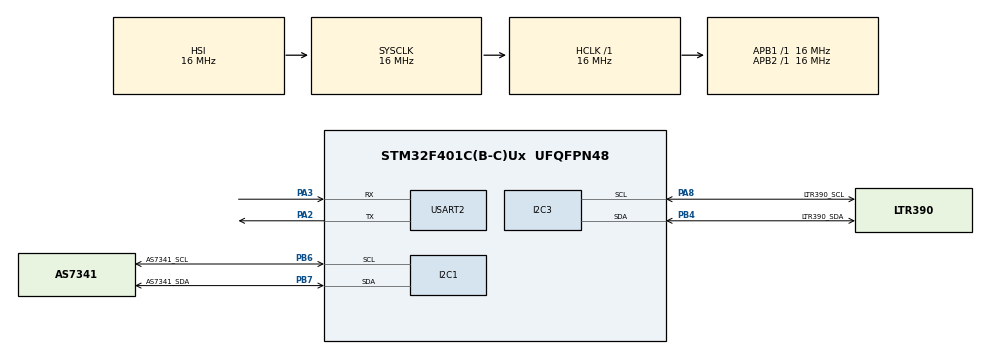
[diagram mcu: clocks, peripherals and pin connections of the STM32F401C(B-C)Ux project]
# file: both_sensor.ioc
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FREERTOS.BinarySemaphores01=messageI2C1_Lock,Dynamic,NULL,Available
FREERTOS.Tasks01=AS7341_Send,24,128,StartAS7341Task,Default,NULL,Dynamic,NULL,NULL;Send_LTR390,8,128,StartLTR390,Default,NULL,Dynamic,NULL,NULL;UartSend,8,128,SendUART,Default,NULL,Dynamic,NULL,NULL
FREERTOS.configUSE_NEWLIB_REENTRANT=1
Mcu.Family=STM32F4
Mcu.Name=STM32F401C(B-C)Ux
Mcu.Package=UFQFPN48
NVIC.I2C1_ER_IRQn=true\:5\:0\:false\:false\:true\:true\:true\:true\:true
NVIC.I2C1_EV_IRQn=true\:5\:0\:false\:false\:true\:true\:true\:true\:true
NVIC.I2C3_ER_IRQn=true\:5\:0\:false\:false\:true\:true\:true\:true\:true
NVIC.I2C3_EV_IRQn=true\:5\:0\:false\:false\:true\:true\:true\:true\:true
NVIC.PriorityGroup=NVIC_PRIORITYGROUP_4
NVIC.TIM4_IRQn=true\:15\:0\:false\:false\:true\:false\:false\:true\:true
NVIC.TimeBase=TIM4_IRQn
NVIC.TimeBaseIP=TIM4
NVIC.USART2_IRQn=true\:5\:0\:false\:false\:true\:true\:true\:true\:true
PA13.Mode=Trace_Asynchronous_SW
PA13.Signal=SYS_JTMS-SWDIO
PA14.Mode=Trace_Asynchronous_SW
PA14.Signal=SYS_JTCK-SWCLK
PA2.Mode=Asynchronous
PA2.Signal=USART2_TX
PA3.Mode=Asynchronous
PA3.Signal=USART2_RX
PA8.GPIO_Label=LTR390_SCL
PA8.Mode=I2C
PA8.Signal=I2C3_SCL
PB3.Mode=Trace_Asynchronous_SW
PB3.Signal=SYS_JTDO-SWO
PB4.GPIO_Label=LTR390_SDA
PB4.Mode=I2C
PB4.Signal=I2C3_SDA
PB6.GPIO_Label=AS7341_SCL
PB6.Mode=I2C
PB6.Signal=I2C1_SCL
PB7.GPIO_Label=AS7341_SDA
PB7.Mode=I2C
PB7.Signal=I2C1_SDA
ProjectManager.HeapSize=0x200
ProjectManager.StackSize=0x400
ProjectManager.TargetToolchain=STM32CubeIDE
RCC.AHBFreq_Value=16000000
RCC.APB1Freq_Value=16000000
RCC.APB2Freq_Value=16000000
RCC.CortexFreq_Value=16000000
RCC.HSE_VALUE=25000000
RCC.HSI_VALUE=16000000
RCC.LSE_VALUE=32768
RCC.SYSCLKFreq_VALUE=16000000
RCC.VCOOutputFreq_Value=192000000
USART2.VirtualMode=VM_ASYNC
VP_FREERTOS_VS_CMSIS_V2.Mode=CMSIS_V2
VP_SYS_VS_tim4.Mode=TIM4
board=custom

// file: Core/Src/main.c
/* USER CODE BEGIN Header */
/**
  ******************************************************************************
  * @file           : main.c
  * @brief          : Main program body
  ******************************************************************************
  * @attention
  *
  * Copyright (c) 2026 STMicroelectronics.
  * All rights reserved.
  *
  * This software is licensed under terms that can be found in the LICENSE file
  * in the root directory of this software component.
  * If no LICENSE file comes with this software, it is provided AS-IS.
  *
  ******************************************************************************
  */
/* USER CODE END Header */
#include "main.h"
#include "cmsis_os.h"

/* USER CODE BEGIN Includes */
#include "Adafruit_AS7341.h"

#include "LTR390.h"
/* USER CODE END Includes */

I2C_HandleTypeDef hi2c1;
I2C_HandleTypeDef hi2c3;

UART_HandleTypeDef huart2;

/* Definitions for AS7341_Send */
osThreadId_t AS7341_SendHandle;
const osThreadAttr_t AS7341_Send_attributes = {
  .name = "AS7341_Send",
  .stack_size = 128 * 4,
  .priority = (osPriority_t) osPriorityNormal,
};
/* Definitions for Send_LTR390 */
osThreadId_t Send_LTR390Handle;
const osThreadAttr_t Send_LTR390_attributes = {
  .name = "Send_LTR390",
  .stack_size = 128 * 4,
  .priority = (osPriority_t) osPriorityLow,
};
/* Definitions for UartSend */
osThreadId_t UartSendHandle;
const osThreadAttr_t UartSend_attributes = {
  .name = "UartSend",
  .stack_size = 128 * 4,
  .priority = (osPriority_t) osPriorityLow,
};
/* Definitions for messageI2C1_Lock */
osSemaphoreId_t messageI2C1_LockHandle;
const osSemaphoreAttr_t messageI2C1_Lock_attributes = {
  .name = "messageI2C1_Lock"
};
/* USER CODE BEGIN PV */
Adafruit_AS7341_t as7341;
uint16_t spectral[12];

volatile uint32_t uv340 = 0;
/* USER CODE END PV */

void SystemClock_Config(void);
static void MX_GPIO_Init(void);
static void MX_I2C1_Init(void);
static void MX_I2C3_Init(void);
static void MX_USART2_UART_Init(void);
void StartAS7341Task(void *argument);
void StartLTR390(void *argument);
void SendUART(void *argument);

int main(void)
{

  /* MCU Configuration--------------------------------------------------------*/

  /* Reset of all peripherals, Initializes the Flash interface and the Systick. */
  HAL_Init();

  /* Configure the system clock */
  SystemClock_Config();

  /* Initialize all configured peripherals */
  MX_GPIO_Init();
  MX_I2C1_Init();
  MX_I2C3_Init();
  MX_USART2_UART_Init();

  /* Init scheduler */
  osKernelInitialize();

  /* Create the semaphores(s) */
  /* creation of messageI2C1_Lock */
  messageI2C1_LockHandle = osSemaphoreNew(1, 1, &messageI2C1_Lock_attributes);

  /* USER CODE BEGIN RTOS_SEMAPHORES */
  Adafruit_AS7341_Init(&as7341);

  if(!Adafruit_AS7341_begin(&as7341,
                            AS7341_I2CADDR_DEFAULT,
                            &hi2c1,
                            0))
  {
      Error_Handler();
  }

  Adafruit_AS7341_setATIME(&as7341, 50);
  Adafruit_AS7341_setASTEP(&as7341, 999);
  Adafruit_AS7341_setGain(&as7341, AS7341_GAIN_16X);
  /* add semaphores, ... */
  /* USER CODE END RTOS_SEMAPHORES */

  /* Create the thread(s) */
  /* creation of AS7341_Send */
  AS7341_SendHandle = osThreadNew(StartAS7341Task, NULL, &AS7341_Send_attributes);

  /* creation of Send_LTR390 */
  Send_LTR390Handle = osThreadNew(StartLTR390, NULL, &Send_LTR390_attributes);

  /* creation of UartSend */
  UartSendHandle = osThreadNew(SendUART, NULL, &UartSend_attributes);

  /* Start scheduler */
  osKernelStart();

  /* We should never get here as control is now taken by the scheduler */

  /* Infinite loop */
  while (1)
  {

  }
}

void SystemClock_Config(void)
{
  RCC_OscInitTypeDef RCC_OscInitStruct = {0};
  RCC_ClkInitTypeDef RCC_ClkInitStruct = {0};

  /** Configure the main internal regulator output voltage
  */
  __HAL_RCC_PWR_CLK_ENABLE();
  __HAL_PWR_VOLTAGESCALING_CONFIG(PWR_REGULATOR_VOLTAGE_SCALE2);

  /** Initializes the RCC Oscillators according to the specified parameters
  * in the RCC_OscInitTypeDef structure.
  */
  RCC_OscInitStruct.OscillatorType = RCC_OSCILLATORTYPE_HSI;
  RCC_OscInitStruct.HSIState = RCC_HSI_ON;
  RCC_OscInitStruct.HSICalibrationValue = RCC_HSICALIBRATION_DEFAULT;
  RCC_OscInitStruct.PLL.PLLState = RCC_PLL_NONE;
  if (HAL_RCC_OscConfig(&RCC_OscInitStruct) != HAL_OK)
  {
    Error_Handler();
  }

  /** Initializes the CPU, AHB and APB buses clocks
  */
  RCC_ClkInitStruct.ClockType = RCC_CLOCKTYPE_HCLK|RCC_CLOCKTYPE_SYSCLK
                              |RCC_CLOCKTYPE_PCLK1|RCC_CLOCKTYPE_PCLK2;
  RCC_ClkInitStruct.SYSCLKSource = RCC_SYSCLKSOURCE_HSI;
  RCC_ClkInitStruct.AHBCLKDivider = RCC_SYSCLK_DIV1;
  RCC_ClkInitStruct.APB1CLKDivider = RCC_HCLK_DIV1;
  RCC_ClkInitStruct.APB2CLKDivider = RCC_HCLK_DIV1;

  if (HAL_RCC_ClockConfig(&RCC_ClkInitStruct, FLASH_LATENCY_0) != HAL_OK)
  {
    Error_Handler();
  }
}

static void MX_I2C1_Init(void)
{

  hi2c1.Instance = I2C1;
  hi2c1.Init.ClockSpeed = 100000;
  hi2c1.Init.DutyCycle = I2C_DUTYCYCLE_2;
  hi2c1.Init.OwnAddress1 = 0;
  hi2c1.Init.AddressingMode = I2C_ADDRESSINGMODE_7BIT;
  hi2c1.Init.DualAddressMode = I2C_DUALADDRESS_DISABLE;
  hi2c1.Init.OwnAddress2 = 0;
  hi2c1.Init.GeneralCallMode = I2C_GENERALCALL_DISABLE;
  hi2c1.Init.NoStretchMode = I2C_NOSTRETCH_DISABLE;
  if (HAL_I2C_Init(&hi2c1) != HAL_OK)
  {
    Error_Handler();
  }

}

static void MX_I2C3_Init(void)
{

  hi2c3.Instance = I2C3;
  hi2c3.Init.ClockSpeed = 100000;
  hi2c3.Init.DutyCycle = I2C_DUTYCYCLE_2;
  hi2c3.Init.OwnAddress1 = 0;
  hi2c3.Init.AddressingMode = I2C_ADDRESSINGMODE_7BIT;
  hi2c3.Init.DualAddressMode = I2C_DUALADDRESS_DISABLE;
  hi2c3.Init.OwnAddress2 = 0;
  hi2c3.Init.GeneralCallMode = I2C_GENERALCALL_DISABLE;
  hi2c3.Init.NoStretchMode = I2C_NOSTRETCH_DISABLE;
  if (HAL_I2C_Init(&hi2c3) != HAL_OK)
  {
    Error_Handler();
  }

}

static void MX_USART2_UART_Init(void)
{

  huart2.Instance = USART2;
  huart2.Init.BaudRate = 115200;
  huart2.Init.WordLength = UART_WORDLENGTH_8B;
  huart2.Init.StopBits = UART_STOPBITS_1;
  huart2.Init.Parity = UART_PARITY_NONE;
  huart2.Init.Mode = UART_MODE_TX_RX;
  huart2.Init.HwFlowCtl = UART_HWCONTROL_NONE;
  huart2.Init.OverSampling = UART_OVERSAMPLING_16;
  if (HAL_UART_Init(&huart2) != HAL_OK)
  {
    Error_Handler();
  }

}

static void MX_GPIO_Init(void)
{

  /* GPIO Ports Clock Enable */
  __HAL_RCC_GPIOA_CLK_ENABLE();
  __HAL_RCC_GPIOB_CLK_ENABLE();

}

void StartAS7341Task(void *argument)
{
  /* USER CODE BEGIN 5 */
	uint32_t ticks = osKernelGetTickCount();
  /* Infinite loop */
	for(;;)
			{
				if(Adafruit_AS7341_readAllChannels(&as7341, spectral))
			    {
			        // spectral[] now contains:

			        // spectral[0] = F1 (415nm)
			        // spectral[1] = F2 (445nm)
			        // spectral[2] = F3 (480nm)
			        // spectral[3] = F4 (515nm)
			        // spectral[4] = Clear0
			        // spectral[5] = NIR0
			        // spectral[6] = F5 (555nm)
			        // spectral[7] = F6 (590nm)
			        // spectral[8] = F7 (630nm)
			        // spectral[9] = F8 (680nm)
			        // spectral[10] = Clear1
			        // spectral[11] = NIR1
			    }

		        ticks += 1000;           // Next wake-up time (1000 ms later)
		        osDelayUntil(ticks);     // Wait until that absolute tick
			}
  /* USER CODE END 5 */
}

void StartLTR390(void *argument)
{
  /* USER CODE BEGIN StartLTR390 */
  /* Infinite loop */
	LTR390_HandleTypeDef ltr;

	    LTR390_Init(&ltr, &hi2c3);

	    if(!LTR390_Begin(&ltr))
	    {
	        Error_Handler();
	    }

	    LTR390_SetMode(&ltr, LTR390_MODE_UVS);
	    LTR390_SetGain(&ltr, LTR390_GAIN_18);
	    LTR390_SetResolution(&ltr, LTR390_RESOLUTION_20BIT);

	    uint32_t ticks = osKernelGetTickCount();

	    for (;;)
	    {
	        if (LTR390_NewDataAvailable(&ltr))
	        {
	            uv340 = LTR390_ReadUVS(&ltr);
	        }

	        ticks += 1000;           // Next wake-up time (1000 ms later)
	        osDelayUntil(ticks);     // Wait until that absolute tick
	    }

  /* USER CODE END StartLTR390 */
}

void SendUART(void *argument)
{
  for(;;)
  {
    osDelay(1);
  }
}

void HAL_TIM_PeriodElapsedCallback(TIM_HandleTypeDef *htim)
{
  if (htim->Instance == TIM4)
  {
    HAL_IncTick();
  }
}

void Error_Handler(void)
{
  __disable_irq();
  while (1)
  {
  }
}
